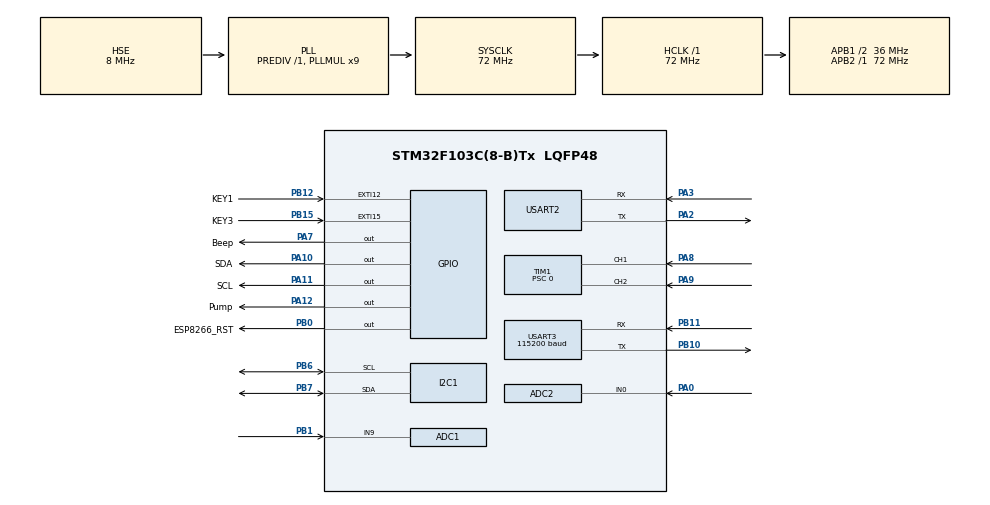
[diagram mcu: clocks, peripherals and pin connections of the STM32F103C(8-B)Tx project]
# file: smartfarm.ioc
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ADC1.Channel-1\#ChannelRegularConversion=ADC_CHANNEL_9
ADC1.NbrOfConversionFlag=1
ADC1.Rank-1\#ChannelRegularConversion=1
ADC1.SamplingTime-1\#ChannelRegularConversion=ADC_SAMPLETIME_1CYCLE_5
ADC1.master=1
ADC2.Channel-1\#ChannelRegularConversion=ADC_CHANNEL_0
ADC2.ContinuousConvMode=ENABLE
ADC2.NbrOfConversionFlag=1
ADC2.Rank-1\#ChannelRegularConversion=1
ADC2.SamplingTime-1\#ChannelRegularConversion=ADC_SAMPLETIME_1CYCLE_5
Dma.Request0=USART3_TX
Dma.USART3_TX.0.Direction=DMA_MEMORY_TO_PERIPH
Dma.USART3_TX.0.Instance=DMA1_Channel2
Dma.USART3_TX.0.MemDataAlignment=DMA_MDATAALIGN_BYTE
Dma.USART3_TX.0.MemInc=DMA_MINC_ENABLE
Dma.USART3_TX.0.Mode=DMA_NORMAL
Dma.USART3_TX.0.PeriphDataAlignment=DMA_PDATAALIGN_BYTE
Dma.USART3_TX.0.PeriphInc=DMA_PINC_DISABLE
Dma.USART3_TX.0.Priority=DMA_PRIORITY_LOW
FREERTOS.Mutexes01=i2c1Mutex,Dynamic,NULL,Available;uart_tx_mutex,Dynamic,NULL,Available
FREERTOS.Tasks01=SensorTask,32,256,StartSensorTask,As weak,NULL,Dynamic,NULL,NULL;ScreenTask,16,128,StartScreenTask,As external,NULL,Dynamic,NULL,NULL;InputTask,40,256,StartInputTask,As external,NULL,Dynamic,NULL,NULL;ESP8266Task,24,512,StartESP8266Task,As external,NULL,Dynamic,NULL,NULL;WatchdogMonitor,8,128,StartWatchdogMonitorTask,As external,NULL,Dynamic,NULL,NULL
FREERTOS.configTIMER_TASK_PRIORITY=24
FREERTOS.configTOTAL_HEAP_SIZE=10240
FREERTOS.configUSE_NEWLIB_REENTRANT=1
I2C1.I2C_Mode=I2C_Fast
Mcu.Family=STM32F1
Mcu.Name=STM32F103C(8-B)Tx
Mcu.Package=LQFP48
NVIC.DMA1_Channel2_IRQn=true\:5\:0\:false\:false\:true\:true\:false\:true\:true
NVIC.EXTI15_10_IRQn=true\:5\:0\:true\:false\:true\:true\:true\:true\:true
NVIC.PriorityGroup=NVIC_PRIORITYGROUP_4
NVIC.TIM3_IRQn=true\:15\:0\:false\:false\:true\:false\:false\:true\:true
NVIC.TimeBase=TIM3_IRQn
NVIC.TimeBaseIP=TIM3
NVIC.USART2_IRQn=true\:5\:0\:false\:false\:true\:true\:true\:true\:true
PA0-WKUP.Signal=ADCx_IN0
PA10.GPIO_Label=SDA
PA10.GPIO_ModeDefaultOutputPP=GPIO_MODE_OUTPUT_OD
PA10.GPIO_PuPd=GPIO_PULLUP
PA10.Signal=GPIO_Output
PA11.GPIO_Label=SCL
PA11.Signal=GPIO_Output
PA12.GPIO_Label=Pump
PA12.Signal=GPIO_Output
PA13.Mode=Serial_Wire
PA13.Signal=SYS_JTMS-SWDIO
PA14.Mode=Serial_Wire
PA14.Signal=SYS_JTCK-SWCLK
PA2.Mode=Asynchronous
PA2.Signal=USART2_TX
PA3.Mode=Asynchronous
PA3.Signal=USART2_RX
PA7.GPIO_Label=Beep
PA7.PinState=GPIO_PIN_SET
PA7.Signal=GPIO_Output
PA8.Signal=S_TIM1_CH1
PA9.Signal=S_TIM1_CH2
PB0.GPIO_Label=ESP8266_RST
PB0.PinState=GPIO_PIN_SET
PB0.Signal=GPIO_Output
PB1.Signal=ADCx_IN9
PB10.Mode=Asynchronous
PB10.Signal=USART3_TX
PB11.Mode=Asynchronous
PB11.Signal=USART3_RX
PB12.GPIO_Label=KEY1
PB12.GPIO_ModeDefaultEXTI=GPIO_MODE_IT_FALLING
PB12.GPIO_PuPd=GPIO_PULLUP
PB12.Signal=GPXTI12
PB15.GPIO_Label=KEY3
PB15.GPIO_ModeDefaultEXTI=GPIO_MODE_IT_FALLING
PB15.GPIO_PuPd=GPIO_PULLUP
PB15.Signal=GPXTI15
PB6.Mode=I2C
PB6.Signal=I2C1_SCL
PB7.Mode=I2C
PB7.Signal=I2C1_SDA
PD0-OSC_IN.Mode=HSE-External-Oscillator
PD0-OSC_IN.Signal=RCC_OSC_IN
PD1-OSC_OUT.Mode=HSE-External-Oscillator
PD1-OSC_OUT.Signal=RCC_OSC_OUT
ProjectManager.HeapSize=0x200
ProjectManager.StackSize=0x400
ProjectManager.TargetToolchain=STM32CubeIDE
RCC.ADCPresc=RCC_ADCPCLK2_DIV6
RCC.AHBFreq_Value=72000000
RCC.APB1CLKDivider=RCC_HCLK_DIV2
RCC.APB1Freq_Value=36000000
RCC.APB1TimFreq_Value=72000000
RCC.APB2Freq_Value=72000000
RCC.APB2TimFreq_Value=72000000
RCC.HCLKFreq_Value=72000000
RCC.PLLMUL=RCC_PLL_MUL9
RCC.PLLSourceVirtual=RCC_PLLSOURCE_HSE
RCC.SYSCLKFreq_VALUE=72000000
RCC.SYSCLKSource=RCC_SYSCLKSOURCE_PLLCLK
RCC.USBFreq_Value=72000000
SH.ADCx_IN0.0=ADC2_IN0,IN0
SH.ADCx_IN9.0=ADC1_IN9,IN9
SH.S_TIM1_CH1.0=TIM1_CH1,Encoder_Interface
SH.S_TIM1_CH2.0=TIM1_CH2,Encoder_Interface
TIM1.EncoderMode=TIM_ENCODERMODE_TI12
TIM1.IC1Filter=8
TIM1.IC2Filter=8
TIM1.IC2Polarity=TIM_ICPOLARITY_RISING
TIM1.Prescaler=0
USART2.VirtualMode=VM_ASYNC
USART3.BaudRate=115200
USART3.VirtualMode=VM_ASYNC
VP_FREERTOS_VS_CMSIS_V2.Mode=CMSIS_V2
VP_IWDG_VS_IWDG.Mode=IWDG_Activate
VP_SYS_VS_tim3.Mode=TIM3
board=custom

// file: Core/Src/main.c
/* USER CODE BEGIN Header */
/**
  ******************************************************************************
  * @file           : main.c
  * @brief          : Main program body
  ******************************************************************************
  * @attention
  *
  * Copyright (c) 2026 STMicroelectronics.
  * All rights reserved.
  *
  * This software is licensed under terms that can be found in the LICENSE file
  * in the root directory of this software component.
  * If no LICENSE file comes with this software, it is provided AS-IS.
  *
  ******************************************************************************
  */
/* USER CODE END Header */
#include "main.h"
#include "cmsis_os.h"
#include "adc.h"
#include "dma.h"
#include "i2c.h"
#include "iwdg.h"
#include "tim.h"
#include "usart.h"
#include "gpio.h"

/* USER CODE BEGIN Includes */
#include "AHT20.h"
#include "stdio.h"
#include "string.h"
#include "Key.h"
#include "oled.h"
#include "adc.h"

/* USER CODE END Includes */

void SystemClock_Config(void);
void MX_FREERTOS_Init(void);

int main(void)
{

  /* MCU Configuration--------------------------------------------------------*/

  /* Reset of all peripherals, Initializes the Flash interface and the Systick. */
  HAL_Init();

  /* Configure the system clock */
  SystemClock_Config();

  /* Initialize all configured peripherals */
  MX_GPIO_Init();
  MX_DMA_Init();
  MX_USART3_UART_Init();
  MX_I2C1_Init();
  MX_TIM1_Init();
  MX_ADC1_Init();
  MX_ADC2_Init();
  MX_USART2_UART_Init();
  MX_IWDG_Init();

  /* Init scheduler */
  osKernelInitialize();  /* Call init function for freertos objects (in cmsis_os2.c) */
  MX_FREERTOS_Init();

  /* Start scheduler */
  osKernelStart();

  /* We should never get here as control is now taken by the scheduler */

  /* Infinite loop */
  while (1)
  {

  }
}

void SystemClock_Config(void)
{
  RCC_OscInitTypeDef RCC_OscInitStruct = {0};
  RCC_ClkInitTypeDef RCC_ClkInitStruct = {0};
  RCC_PeriphCLKInitTypeDef PeriphClkInit = {0};

  /** Initializes the RCC Oscillators according to the specified parameters
  * in the RCC_OscInitTypeDef structure.
  */
  RCC_OscInitStruct.OscillatorType = RCC_OSCILLATORTYPE_LSI|RCC_OSCILLATORTYPE_HSE;
  RCC_OscInitStruct.HSEState = RCC_HSE_ON;
  RCC_OscInitStruct.HSEPredivValue = RCC_HSE_PREDIV_DIV1;
  RCC_OscInitStruct.HSIState = RCC_HSI_ON;
  RCC_OscInitStruct.LSIState = RCC_LSI_ON;
  RCC_OscInitStruct.PLL.PLLState = RCC_PLL_ON;
  RCC_OscInitStruct.PLL.PLLSource = RCC_PLLSOURCE_HSE;
  RCC_OscInitStruct.PLL.PLLMUL = RCC_PLL_MUL9;
  if (HAL_RCC_OscConfig(&RCC_OscInitStruct) != HAL_OK)
  {
    Error_Handler();
  }

  /** Initializes the CPU, AHB and APB buses clocks
  */
  RCC_ClkInitStruct.ClockType = RCC_CLOCKTYPE_HCLK|RCC_CLOCKTYPE_SYSCLK
                              |RCC_CLOCKTYPE_PCLK1|RCC_CLOCKTYPE_PCLK2;
  RCC_ClkInitStruct.SYSCLKSource = RCC_SYSCLKSOURCE_PLLCLK;
  RCC_ClkInitStruct.AHBCLKDivider = RCC_SYSCLK_DIV1;
  RCC_ClkInitStruct.APB1CLKDivider = RCC_HCLK_DIV2;
  RCC_ClkInitStruct.APB2CLKDivider = RCC_HCLK_DIV1;

  if (HAL_RCC_ClockConfig(&RCC_ClkInitStruct, FLASH_LATENCY_2) != HAL_OK)
  {
    Error_Handler();
  }
  PeriphClkInit.PeriphClockSelection = RCC_PERIPHCLK_ADC;
  PeriphClkInit.AdcClockSelection = RCC_ADCPCLK2_DIV6;
  if (HAL_RCCEx_PeriphCLKConfig(&PeriphClkInit) != HAL_OK)
  {
    Error_Handler();
  }
}

void HAL_TIM_PeriodElapsedCallback(TIM_HandleTypeDef *htim)
{
  if (htim->Instance == TIM3)
  {
    HAL_IncTick();
  }
}

void Error_Handler(void)
{
  /* USER CODE BEGIN Error_Handler_Debug */
  /* User can add his own implementation to report the HAL error return state */
  __set_FAULTMASK(1);
  NVIC_SystemReset();
  /* USER CODE END Error_Handler_Debug */
}

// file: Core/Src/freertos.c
/* USER CODE BEGIN Header */
/**
  ******************************************************************************
  * File Name          : freertos.c
  * Description        : Code for freertos applications
  ******************************************************************************
  * @attention
  *
  * Copyright (c) 2026 STMicroelectronics.
  * All rights reserved.
  *
  * This software is licensed under terms that can be found in the LICENSE file
  * in the root directory of this software component.
  * If no LICENSE file comes with this software, it is provided AS-IS.
  *
  ******************************************************************************
  */
/* USER CODE END Header */

#include "FreeRTOS.h"
#include "task.h"
#include "main.h"
#include "cmsis_os.h"

/* USER CODE BEGIN Includes */
#include "usart.h"
#include "Key.h"
#include "stdio.h"
#include "string.h"
#include "knob.h"
#include "Pump.h"
#include "oled.h"
#include "Light.h"
#include "rain.h"
#include "soil_moisture.h"
#include "font.h"
/* USER CODE END Includes */

/* Definitions for SensorTask */
osThreadId_t SensorTaskHandle;
const osThreadAttr_t SensorTask_attributes = {
  .name = "SensorTask",
  .stack_size = 256 * 4,
  .priority = (osPriority_t) osPriorityAboveNormal,
};
/* Definitions for ScreenTask */
osThreadId_t ScreenTaskHandle;
const osThreadAttr_t ScreenTask_attributes = {
  .name = "ScreenTask",
  .stack_size = 128 * 4,
  .priority = (osPriority_t) osPriorityBelowNormal,
};
/* Definitions for InputTask */
osThreadId_t InputTaskHandle;
const osThreadAttr_t InputTask_attributes = {
  .name = "InputTask",
  .stack_size = 256 * 4,
  .priority = (osPriority_t) osPriorityHigh,
};
/* Definitions for ESP8266Task */
osThreadId_t ESP8266TaskHandle;
const osThreadAttr_t ESP8266Task_attributes = {
  .name = "ESP8266Task",
  .stack_size = 512 * 4,
  .priority = (osPriority_t) osPriorityNormal,
};
/* Definitions for WatchdogMonitor */
osThreadId_t WatchdogMonitorHandle;
const osThreadAttr_t WatchdogMonitor_attributes = {
  .name = "WatchdogMonitor",
  .stack_size = 128 * 4,
  .priority = (osPriority_t) osPriorityLow,
};
/* Definitions for i2c1Mutex */
osMutexId_t i2c1MutexHandle;
const osMutexAttr_t i2c1Mutex_attributes = {
  .name = "i2c1Mutex"
};
/* Definitions for uart_tx_mutex */
osMutexId_t uart_tx_mutexHandle;
const osMutexAttr_t uart_tx_mutex_attributes = {
  .name = "uart_tx_mutex"
};

void StartSensorTask(void *argument);
extern void StartScreenTask(void *argument);
extern void StartInputTask(void *argument);
extern void StartESP8266Task(void *argument);
extern void StartWatchdogMonitorTask(void *argument);

void MX_FREERTOS_Init(void); /* (MISRA C 2004 rule 8.1) */

void MX_FREERTOS_Init(void) {
  /* Create the mutex(es) */
  /* creation of i2c1Mutex */
  i2c1MutexHandle = osMutexNew(&i2c1Mutex_attributes);

  /* creation of uart_tx_mutex */
  uart_tx_mutexHandle = osMutexNew(&uart_tx_mutex_attributes);

  /* Create the thread(s) */
  /* creation of SensorTask */
  SensorTaskHandle = osThreadNew(StartSensorTask, NULL, &SensorTask_attributes);

  /* creation of ScreenTask */
  ScreenTaskHandle = osThreadNew(StartScreenTask, NULL, &ScreenTask_attributes);

  /* creation of InputTask */
  InputTaskHandle = osThreadNew(StartInputTask, NULL, &InputTask_attributes);

  /* creation of ESP8266Task */
  ESP8266TaskHandle = osThreadNew(StartESP8266Task, NULL, &ESP8266Task_attributes);

  /* creation of WatchdogMonitor */
  WatchdogMonitorHandle = osThreadNew(StartWatchdogMonitorTask, NULL, &WatchdogMonitor_attributes);

}

__weak void StartSensorTask(void *argument)
{
  for(;;)
  {
    osDelay(1);
  }
}
